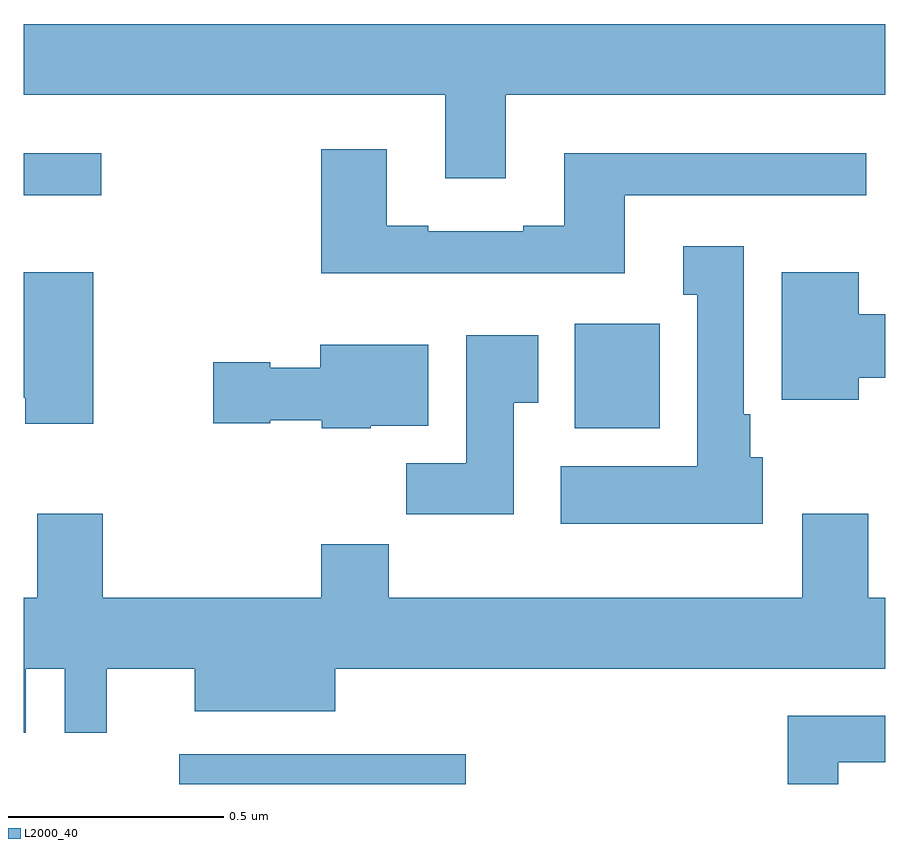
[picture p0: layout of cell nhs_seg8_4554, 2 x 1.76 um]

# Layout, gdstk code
import gdstk
lib = gdstk.Library(unit=1e-6, precision=1e-09)
def R(c, l, rs):  # rectangles x0, y0, x1, y1
    for r in rs: c.add(gdstk.rectangle(r[:2], r[2:], *l))
def P(c, l, *ps):  # polygons
    for p in ps: c.add(gdstk.Polygon(p, *l))
L2000_40 = (2000, 40)

nhs_seg8_4554 = lib.new_cell('nhs_seg8_4554')
R(nhs_seg8_4554, L2000_40, [(172.361,1114.9,173.026,1114.969), (173.279,1115.726,173.476,1115.968), (172,1116.267,172.18,1116.364)])
P(nhs_seg8_4554, L2000_40, [(173.119,1116.5),(174,1116.5),(174,1116.664),(172,1116.664),(172,1116.5),(172.979,1116.5),(172.979,1116.306),(173.119,1116.306)],
  [(173.395,1116.267),(173.956,1116.267),(173.956,1116.364),(173.255,1116.364),(173.255,1116.196),(173.159,1116.196),(173.159,1116.183),(172.939,1116.183),(172.939,1116.196),(172.843,1116.196),(172.843,1116.373),(172.691,1116.373),(172.691,1116.086),(173.395,1116.086)],
  [(173.716,1115.658),(173.686,1115.658),(173.686,1115.758),(173.671,1115.758),(173.671,1116.148),(173.531,1116.148),(173.531,1116.035),(173.564,1116.035),(173.564,1115.638),(173.247,1115.638),(173.247,1115.504),(173.716,1115.504)],
  [(173.938,1115.843),(174,1115.843),(174,1115.99),(173.938,1115.99),(173.938,1116.088),(173.759,1116.088),(173.759,1115.792),(173.938,1115.792)],
  [(172.162,1116.088),(172,1116.088),(172,1115.796),(172.004,1115.796),(172.004,1115.736),(172.162,1115.736)],
  [(173.137,1115.785),(173.194,1115.785),(173.194,1115.941),(173.027,1115.941),(173.027,1115.644),(172.888,1115.644),(172.888,1115.526),(173.137,1115.526)],
  [(172.806,1115.732),(172.939,1115.732),(172.939,1115.92),(172.688,1115.92),(172.688,1115.866),(172.572,1115.866),(172.572,1115.879),(172.44,1115.879),(172.44,1115.737),(172.572,1115.737),(172.572,1115.744),(172.692,1115.744),(172.692,1115.726),(172.806,1115.726)],
  [(172.005,1115.168),(172.095,1115.168),(172.095,1115.019),(172.193,1115.019),(172.193,1115.168),(172.397,1115.168),(172.397,1115.069),(172.723,1115.069),(172.723,1115.168),(174,1115.168),(174,1115.332),(173.96,1115.332),(173.96,1115.527),(173.807,1115.527),(173.807,1115.332),(172.847,1115.332),(172.847,1115.456),(172.691,1115.456),(172.691,1115.332),(172.184,1115.332),(172.184,1115.527),(172.031,1115.527),(172.031,1115.332),(172,1115.332),(172,1115.019),(172.005,1115.019)],
  [(173.891,1114.95),(174,1114.95),(174,1115.058),(173.773,1115.058),(173.773,1114.9),(173.891,1114.9)])

lib.write_gds('nhs_seg8_4554.gds')
